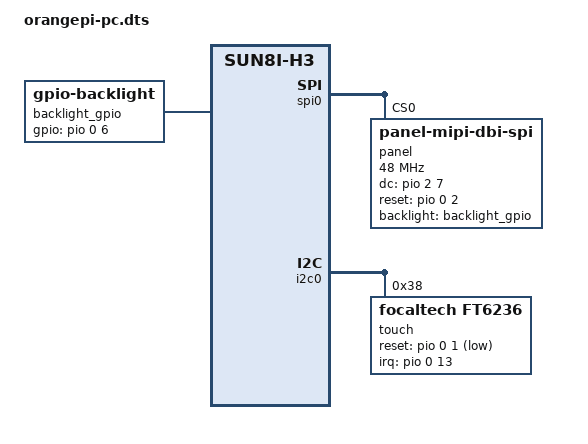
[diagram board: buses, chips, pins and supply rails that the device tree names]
/dts-v1/;
/plugin/;

/ {
        compatible = "allwinner,sun8i-h3";

        fragment@0 {
                target-path = "/aliases";
                __overlay__ {
			spi0 = "/soc/spi@01c68000";
			i2c0 = "/soc/i2c@01c2ac00";
                };
        };

        fragment@1 {
                target = <&spi0>;
                __overlay__ {
                        #address-cells = <1>;
                        #size-cells = <0>;
                        status = "okay";

                        panel: panel@0 {
                                compatible = "panel-mipi-dbi-spi";
                                reg = <0>;
                                spi-max-frequency = <48000000>;

                                dc-gpios = <&pio 2 7 0>;
                                reset-gpios = <&pio 0 2 0>;
                                write-only;

                                format = "b6x2g6x2r6x2";

                                backlight = <&backlight_gpio>;

                                width-mm = <73>;
                                height-mm = <49>;

                                panel-timing {
                                        hactive = <480>;
                                        vactive = <320>;
                                        hback-porch = <0>;
                                        vback-porch = <0>;
                                        clock-frequency = <0>;
                                        hfront-porch = <0>;
                                        hsync-len = <0>;
                                        vfront-porch = <0>;
                                        vsync-len = <0>;
                                };
                        };
                };
        };
	
	fragment@2 {
		target-path = "/";
		__overlay__ {
			backlight_gpio: backlight_gpio {
				compatible = "gpio-backlight";
				gpios = <&pio 0 6 0>;
				default-on;
			};
		};
	};

	fragment@3 {
		target = <&i2c0>;
		__overlay__ {
			#address-cells = <1>;
			#size-cells = <0>;
			status = "okay";

			touch@38 {
				compatible = "focaltech,ft6236";
				status = "okay";
				reg = <0x38>;
				reset-gpios = <&pio 0 1 1>;
				interrupt-parent = <&pio>;
				interrupts = <0 13 2>;
				
				touchscreen-size-x = <320>;
				touchscreen-size-y = <480>;
			};
		};
	};
};
